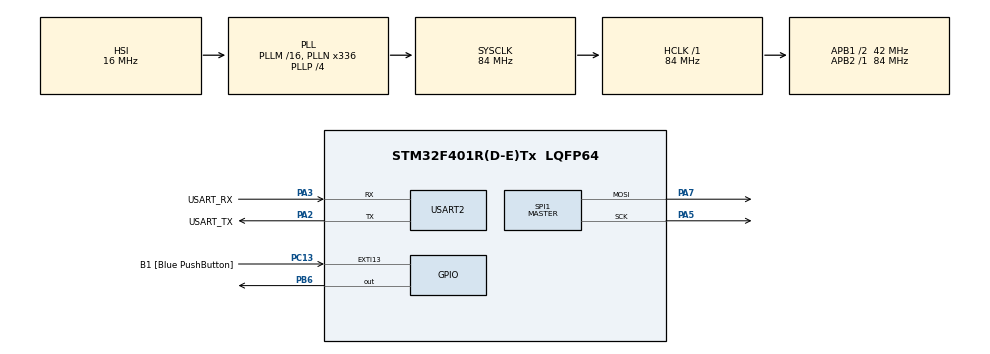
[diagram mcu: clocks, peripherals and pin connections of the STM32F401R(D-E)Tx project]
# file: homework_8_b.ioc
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Dma.Request0=SPI1_TX
Dma.SPI1_TX.0.Direction=DMA_MEMORY_TO_PERIPH
Dma.SPI1_TX.0.FIFOMode=DMA_FIFOMODE_DISABLE
Dma.SPI1_TX.0.Instance=DMA2_Stream3
Dma.SPI1_TX.0.MemDataAlignment=DMA_MDATAALIGN_BYTE
Dma.SPI1_TX.0.MemInc=DMA_MINC_ENABLE
Dma.SPI1_TX.0.Mode=DMA_NORMAL
Dma.SPI1_TX.0.PeriphDataAlignment=DMA_PDATAALIGN_BYTE
Dma.SPI1_TX.0.PeriphInc=DMA_PINC_DISABLE
Dma.SPI1_TX.0.Priority=DMA_PRIORITY_LOW
Mcu.Family=STM32F4
Mcu.Name=STM32F401R(D-E)Tx
Mcu.Package=LQFP64
NVIC.DMA2_Stream3_IRQn=true\:0\:0\:false\:false\:true\:false\:true\:true
NVIC.PriorityGroup=NVIC_PRIORITYGROUP_0
NVIC.TIM1_UP_TIM10_IRQn=true\:0\:0\:false\:false\:true\:true\:true\:true
PA13.GPIO_Label=TMS
PA13.Mode=Serial_Wire
PA13.Signal=SYS_JTMS-SWDIO
PA14.GPIO_Label=TCK
PA14.Mode=Serial_Wire
PA14.Signal=SYS_JTCK-SWCLK
PA2.GPIO_Label=USART_TX
PA2.GPIO_Mode=GPIO_MODE_AF_PP
PA2.GPIO_PuPd=GPIO_NOPULL
PA2.GPIO_Speed=GPIO_SPEED_FREQ_LOW
PA2.Mode=Asynchronous
PA2.Signal=USART2_TX
PA3.GPIO_Label=USART_RX
PA3.GPIO_Mode=GPIO_MODE_AF_PP
PA3.GPIO_PuPd=GPIO_NOPULL
PA3.GPIO_Speed=GPIO_SPEED_FREQ_LOW
PA3.Mode=Asynchronous
PA3.Signal=USART2_RX
PA5.Mode=TX_Only_Simplex_Unidirect_Master
PA5.Signal=SPI1_SCK
PA7.Mode=TX_Only_Simplex_Unidirect_Master
PA7.Signal=SPI1_MOSI
PB3.GPIO_Label=SWO
PB3.Signal=SYS_JTDO-SWO
PB6.Signal=GPIO_Output
PC13-ANTI_TAMP.GPIO_Label=B1 [Blue PushButton]
PC13-ANTI_TAMP.GPIO_ModeDefaultEXTI=GPIO_MODE_IT_FALLING
PC13-ANTI_TAMP.GPIO_PuPd=GPIO_NOPULL
PC13-ANTI_TAMP.Signal=GPXTI13
PC14-OSC32_IN.Mode=LSE-External-Oscillator
PC14-OSC32_IN.Signal=RCC_OSC32_IN
PC15-OSC32_OUT.Mode=LSE-External-Oscillator
PC15-OSC32_OUT.Signal=RCC_OSC32_OUT
PH0\ -\ OSC_IN.Mode=HSE-External-Clock-Source
PH0\ -\ OSC_IN.Signal=RCC_OSC_IN
PH1\ -\ OSC_OUT.Mode=HSE-External-Clock-Source
PH1\ -\ OSC_OUT.Signal=RCC_OSC_OUT
ProjectManager.HeapSize=0x200
ProjectManager.StackSize=0x400
ProjectManager.TargetToolchain=STM32CubeIDE
RCC.48MHZClocksFreq_Value=48000000
RCC.AHBFreq_Value=84000000
RCC.APB1CLKDivider=RCC_HCLK_DIV2
RCC.APB1Freq_Value=42000000
RCC.APB1TimFreq_Value=84000000
RCC.APB2Freq_Value=84000000
RCC.APB2TimFreq_Value=84000000
RCC.CortexFreq_Value=84000000
RCC.HCLKFreq_Value=84000000
RCC.HSE_VALUE=8000000
RCC.HSI_VALUE=16000000
RCC.PLLN=336
RCC.PLLP=RCC_PLLP_DIV4
RCC.PLLQ=7
RCC.SYSCLKFreq_VALUE=84000000
RCC.SYSCLKSource=RCC_SYSCLKSOURCE_PLLCLK
RCC.VCOOutputFreq_Value=336000000
SPI1.BaudRatePrescaler=SPI_BAUDRATEPRESCALER_4
SPI1.Direction=SPI_DIRECTION_2LINES
SPI1.Mode=SPI_MODE_MASTER
SPI1.VirtualType=VM_MASTER
TIM10.Period=55999
TIM10.Prescaler=5
USART2.VirtualMode=VM_ASYNC
VP_TIM10_VS_ClockSourceINT.Mode=Enable_Timer
board=NUCLEO-F401RE

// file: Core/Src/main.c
/* USER CODE BEGIN Header */
/**
  ******************************************************************************
  * @file           : main.c
  * @brief          : Main program body
  ******************************************************************************
  * @attention
  *
  * Copyright (c) 2022 STMicroelectronics.
  * All rights reserved.
  *
  * This software is licensed under terms that can be found in the LICENSE file
  * in the root directory of this software component.
  * If no LICENSE file comes with this software, it is provided AS-IS.
  *
  ******************************************************************************
  */
/* USER CODE END Header */
#include "main.h"

SPI_HandleTypeDef hspi1;
DMA_HandleTypeDef hdma_spi1_tx;

TIM_HandleTypeDef htim10;

UART_HandleTypeDef huart2;

void SystemClock_Config(void);
static void MX_GPIO_Init(void);
static void MX_DMA_Init(void);
static void MX_USART2_UART_Init(void);
static void MX_SPI1_Init(void);
static void MX_TIM10_Init(void);

/* USER CODE BEGIN 0 */
// Output pin for the SS
#define RCLK_PIN GPIOB, GPIO_PIN_6

// Counting the number of times the timer interrupt has been interrupting
uint8_t count = 0;
// Index, showing which coloumn in the LED to light up
uint8_t index = 0;
// Showing which letter to choose from in the matrix
uint8_t letter = 0;

// Making sure that the letter M and S can be lighten up by the index
uint8_t matrix[2][5][2] = {		{{127, 16}, {32, 8}, {16, 4}, {32, 2}, {127, 1}},	// Letter M
								{{50, 16}, {73, 8}, {73, 4}, {69, 2}, {34, 1}}		// Letter S
};

// Timer interrupt for every 4 ms
void HAL_TIM_PeriodElapsedCallback(TIM_HandleTypeDef* calling_timer){
	if(calling_timer == &htim10) {
		// Transmit the letter and column, which should be lighten up
		HAL_SPI_Transmit_DMA(&hspi1, matrix[letter][index], 2);
		// Increment the counter
		count++;
	}
}

// SPI interrupt
void HAL_SPI_TxCpltCallback(SPI_HandleTypeDef* calling_SPI){
	if(calling_SPI == &hspi1){
		// Setting the SS pin
		HAL_GPIO_WritePin(GPIOB, GPIO_PIN_6, GPIO_PIN_SET);
		// Increment the index
		index++;
		// Resetting index for index higher than 4
		if(index > 4){
			index = 0;
		}
		// Resetting the SS pin
		HAL_GPIO_WritePin(GPIOB, GPIO_PIN_6, GPIO_PIN_RESET);
	}
}
/* USER CODE END 0 */

int main(void)
{

  /* MCU Configuration--------------------------------------------------------*/

  /* Reset of all peripherals, Initializes the Flash interface and the Systick. */
  HAL_Init();

  /* Configure the system clock */
  SystemClock_Config();

  /* Initialize all configured peripherals */
  MX_GPIO_Init();
  MX_DMA_Init();
  MX_USART2_UART_Init();
  MX_SPI1_Init();
  MX_TIM10_Init();
  /* USER CODE BEGIN 2 */
  HAL_TIM_Base_Start_IT(&htim10);
  /* USER CODE END 2 */

  /* Infinite loop */
  while (1)
  {

    /* USER CODE BEGIN 3 */
	  // Counting until 1 secind has passed
	  if(count >= 250) {
		  // Reset the counter
		  count = 0;
		  // Invert the letter from M to S or vice versa
		  letter = !(letter);
	  }
  }
  /* USER CODE END 3 */
}

void SystemClock_Config(void)
{
  RCC_OscInitTypeDef RCC_OscInitStruct = {0};
  RCC_ClkInitTypeDef RCC_ClkInitStruct = {0};

  /** Configure the main internal regulator output voltage
  */
  __HAL_RCC_PWR_CLK_ENABLE();
  __HAL_PWR_VOLTAGESCALING_CONFIG(PWR_REGULATOR_VOLTAGE_SCALE2);

  /** Initializes the RCC Oscillators according to the specified parameters
  * in the RCC_OscInitTypeDef structure.
  */
  RCC_OscInitStruct.OscillatorType = RCC_OSCILLATORTYPE_HSI;
  RCC_OscInitStruct.HSIState = RCC_HSI_ON;
  RCC_OscInitStruct.HSICalibrationValue = RCC_HSICALIBRATION_DEFAULT;
  RCC_OscInitStruct.PLL.PLLState = RCC_PLL_ON;
  RCC_OscInitStruct.PLL.PLLSource = RCC_PLLSOURCE_HSI;
  RCC_OscInitStruct.PLL.PLLM = 16;
  RCC_OscInitStruct.PLL.PLLN = 336;
  RCC_OscInitStruct.PLL.PLLP = RCC_PLLP_DIV4;
  RCC_OscInitStruct.PLL.PLLQ = 7;
  if (HAL_RCC_OscConfig(&RCC_OscInitStruct) != HAL_OK)
  {
    Error_Handler();
  }

  /** Initializes the CPU, AHB and APB buses clocks
  */
  RCC_ClkInitStruct.ClockType = RCC_CLOCKTYPE_HCLK|RCC_CLOCKTYPE_SYSCLK
                              |RCC_CLOCKTYPE_PCLK1|RCC_CLOCKTYPE_PCLK2;
  RCC_ClkInitStruct.SYSCLKSource = RCC_SYSCLKSOURCE_PLLCLK;
  RCC_ClkInitStruct.AHBCLKDivider = RCC_SYSCLK_DIV1;
  RCC_ClkInitStruct.APB1CLKDivider = RCC_HCLK_DIV2;
  RCC_ClkInitStruct.APB2CLKDivider = RCC_HCLK_DIV1;

  if (HAL_RCC_ClockConfig(&RCC_ClkInitStruct, FLASH_LATENCY_2) != HAL_OK)
  {
    Error_Handler();
  }
}

static void MX_SPI1_Init(void)
{

  /* SPI1 parameter configuration*/
  hspi1.Instance = SPI1;
  hspi1.Init.Mode = SPI_MODE_MASTER;
  hspi1.Init.Direction = SPI_DIRECTION_2LINES;
  hspi1.Init.DataSize = SPI_DATASIZE_8BIT;
  hspi1.Init.CLKPolarity = SPI_POLARITY_LOW;
  hspi1.Init.CLKPhase = SPI_PHASE_1EDGE;
  hspi1.Init.NSS = SPI_NSS_SOFT;
  hspi1.Init.BaudRatePrescaler = SPI_BAUDRATEPRESCALER_4;
  hspi1.Init.FirstBit = SPI_FIRSTBIT_MSB;
  hspi1.Init.TIMode = SPI_TIMODE_DISABLE;
  hspi1.Init.CRCCalculation = SPI_CRCCALCULATION_DISABLE;
  hspi1.Init.CRCPolynomial = 10;
  if (HAL_SPI_Init(&hspi1) != HAL_OK)
  {
    Error_Handler();
  }

}

static void MX_TIM10_Init(void)
{

  htim10.Instance = TIM10;
  htim10.Init.Prescaler = 5;
  htim10.Init.CounterMode = TIM_COUNTERMODE_UP;
  htim10.Init.Period = 55999;
  htim10.Init.ClockDivision = TIM_CLOCKDIVISION_DIV1;
  htim10.Init.AutoReloadPreload = TIM_AUTORELOAD_PRELOAD_DISABLE;
  if (HAL_TIM_Base_Init(&htim10) != HAL_OK)
  {
    Error_Handler();
  }

}

static void MX_USART2_UART_Init(void)
{

  huart2.Instance = USART2;
  huart2.Init.BaudRate = 115200;
  huart2.Init.WordLength = UART_WORDLENGTH_8B;
  huart2.Init.StopBits = UART_STOPBITS_1;
  huart2.Init.Parity = UART_PARITY_NONE;
  huart2.Init.Mode = UART_MODE_TX_RX;
  huart2.Init.HwFlowCtl = UART_HWCONTROL_NONE;
  huart2.Init.OverSampling = UART_OVERSAMPLING_16;
  if (HAL_UART_Init(&huart2) != HAL_OK)
  {
    Error_Handler();
  }

}

static void MX_DMA_Init(void)
{

  /* DMA controller clock enable */
  __HAL_RCC_DMA2_CLK_ENABLE();

  /* DMA interrupt init */
  /* DMA2_Stream3_IRQn interrupt configuration */
  HAL_NVIC_SetPriority(DMA2_Stream3_IRQn, 0, 0);
  HAL_NVIC_EnableIRQ(DMA2_Stream3_IRQn);

}

static void MX_GPIO_Init(void)
{
  GPIO_InitTypeDef GPIO_InitStruct = {0};

  /* GPIO Ports Clock Enable */
  __HAL_RCC_GPIOC_CLK_ENABLE();
  __HAL_RCC_GPIOH_CLK_ENABLE();
  __HAL_RCC_GPIOA_CLK_ENABLE();
  __HAL_RCC_GPIOB_CLK_ENABLE();

  /*Configure GPIO pin Output Level */
  HAL_GPIO_WritePin(GPIOB, GPIO_PIN_6, GPIO_PIN_RESET);

  /*Configure GPIO pin : B1_Pin */
  GPIO_InitStruct.Pin = B1_Pin;
  GPIO_InitStruct.Mode = GPIO_MODE_IT_FALLING;
  GPIO_InitStruct.Pull = GPIO_NOPULL;
  HAL_GPIO_Init(B1_GPIO_Port, &GPIO_InitStruct);

  /*Configure GPIO pin : PB6 */
  GPIO_InitStruct.Pin = GPIO_PIN_6;
  GPIO_InitStruct.Mode = GPIO_MODE_OUTPUT_PP;
  GPIO_InitStruct.Pull = GPIO_NOPULL;
  GPIO_InitStruct.Speed = GPIO_SPEED_FREQ_LOW;
  HAL_GPIO_Init(GPIOB, &GPIO_InitStruct);

}

void Error_Handler(void)
{
  __disable_irq();
  while (1)
  {
  }
}
